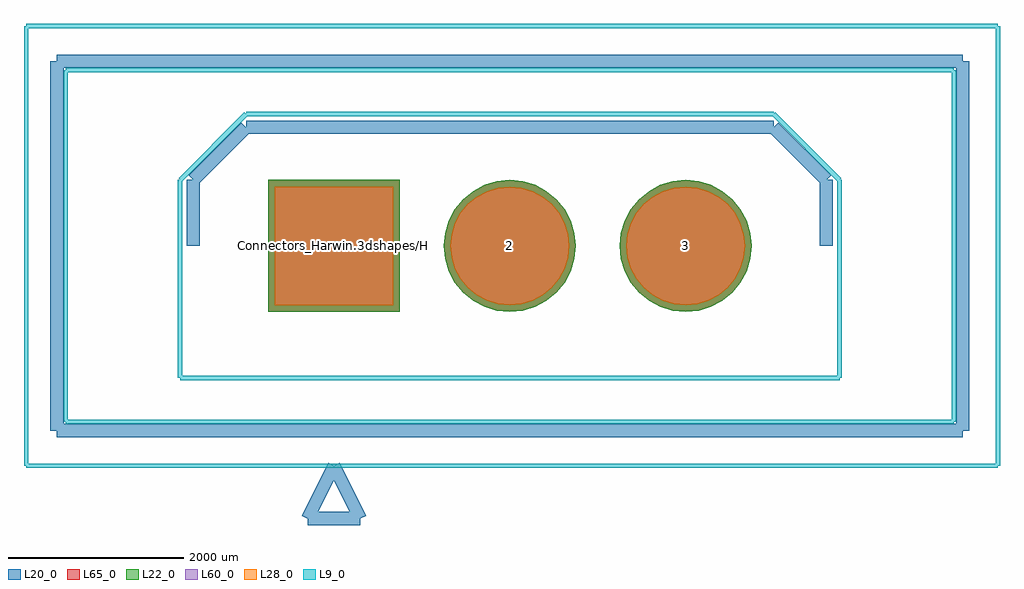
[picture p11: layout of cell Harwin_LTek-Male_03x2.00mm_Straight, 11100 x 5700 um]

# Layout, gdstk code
import gdstk
lib = gdstk.Library(unit=1e-6, precision=1e-09)
def R(c, l, rs):  # rectangles x0, y0, x1, y1
    for r in rs: c.add(gdstk.rectangle(r[:2], r[2:], *l))
def P(c, l, *ps):  # polygons
    for p in ps: c.add(gdstk.Polygon(p, *l))
L9_0 = (9, 0)
L20_0 = (20, 0)
L22_0 = (22, 0)
L28_0 = (28, 0)
L60_0 = (60, 0)
L65_0 = (65, 0)

harwin_ltek_male_03x2_00 = lib.new_cell('Harwin_LTek-Male_03x2.00mm_Straight')
R(harwin_ltek_male_03x2_00, L22_0, [(-750,-750,750,750)])
P(harwin_ltek_male_03x2_00, L22_0, [(4750,0),(4735.589,146.318),(4692.91,287.013),(4623.602,416.678),(4530.33,530.33),(4416.678,623.602),(4287.013,692.91),(4146.318,735.589),(4000,750),(3853.682,735.589),(3712.987,692.91),(3583.322,623.602),(3469.67,530.33),(3376.398,416.678),(3307.09,287.013),(3264.411,146.318),(3250,0),(3264.411,-146.318),(3307.09,-287.013),(3376.398,-416.678),(3469.67,-530.33),(3583.322,-623.602),(3712.987,-692.91),(3853.682,-735.589),(4000,-750),(4146.318,-735.589),(4287.013,-692.91),(4416.678,-623.602),(4530.33,-530.33),(4623.602,-416.678),(4692.91,-287.013),(4735.589,-146.318)],
  [(2750,0),(2735.589,146.318),(2692.91,287.013),(2623.602,416.678),(2530.33,530.33),(2416.678,623.602),(2287.013,692.91),(2146.318,735.589),(2000,750),(1853.682,735.589),(1712.987,692.91),(1583.322,623.602),(1469.67,530.33),(1376.398,416.678),(1307.09,287.013),(1264.411,146.318),(1250,0),(1264.411,-146.318),(1307.09,-287.013),(1376.398,-416.678),(1469.67,-530.33),(1583.322,-623.602),(1712.987,-692.91),(1853.682,-735.589),(2000,-750),(2146.318,-735.589),(2287.013,-692.91),(2416.678,-623.602),(2530.33,-530.33),(2623.602,-416.678),(2692.91,-287.013),(2735.589,-146.318)])
R(harwin_ltek_male_03x2_00, L28_0, [(-675,-675,675,675)])
P(harwin_ltek_male_03x2_00, L28_0, [(4675,0),(4662.03,131.686),(4623.619,258.311),(4561.242,375.01),(4477.297,477.297),(4375.01,561.242),(4258.311,623.619),(4131.686,662.03),(4000,675),(3868.314,662.03),(3741.689,623.619),(3624.99,561.242),(3522.703,477.297),(3438.758,375.01),(3376.381,258.311),(3337.97,131.686),(3325,0),(3337.97,-131.686),(3376.381,-258.311),(3438.758,-375.01),(3522.703,-477.297),(3624.99,-561.242),(3741.689,-623.619),(3868.314,-662.03),(4000,-675),(4131.686,-662.03),(4258.311,-623.619),(4375.01,-561.242),(4477.297,-477.297),(4561.242,-375.01),(4623.619,-258.311),(4662.03,-131.686)],
  [(2675,0),(2662.03,131.686),(2623.619,258.311),(2561.242,375.01),(2477.297,477.297),(2375.01,561.242),(2258.311,623.619),(2131.686,662.03),(2000,675),(1868.314,662.03),(1741.689,623.619),(1624.99,561.242),(1522.703,477.297),(1438.758,375.01),(1376.381,258.311),(1337.97,131.686),(1325,0),(1337.97,-131.686),(1376.381,-258.311),(1438.758,-375.01),(1522.703,-477.297),(1624.99,-561.242),(1741.689,-623.619),(1868.314,-662.03),(2000,-675),(2131.686,-662.03),(2258.311,-623.619),(2375.01,-561.242),(2477.297,-477.297),(2561.242,-375.01),(2623.619,-258.311),(2662.03,-131.686)])
R(harwin_ltek_male_03x2_00, L60_0, [(-675,-675,675,675)])
P(harwin_ltek_male_03x2_00, L60_0, [(4675,0),(4662.03,131.686),(4623.619,258.311),(4561.242,375.01),(4477.297,477.297),(4375.01,561.242),(4258.311,623.619),(4131.686,662.03),(4000,675),(3868.314,662.03),(3741.689,623.619),(3624.99,561.242),(3522.703,477.297),(3438.758,375.01),(3376.381,258.311),(3337.97,131.686),(3325,0),(3337.97,-131.686),(3376.381,-258.311),(3438.758,-375.01),(3522.703,-477.297),(3624.99,-561.242),(3741.689,-623.619),(3868.314,-662.03),(4000,-675),(4131.686,-662.03),(4258.311,-623.619),(4375.01,-561.242),(4477.297,-477.297),(4561.242,-375.01),(4623.619,-258.311),(4662.03,-131.686)],
  [(2675,0),(2662.03,131.686),(2623.619,258.311),(2561.242,375.01),(2477.297,477.297),(2375.01,561.242),(2258.311,623.619),(2131.686,662.03),(2000,675),(1868.314,662.03),(1741.689,623.619),(1624.99,561.242),(1522.703,477.297),(1438.758,375.01),(1376.381,258.311),(1337.97,131.686),(1325,0),(1337.97,-131.686),(1376.381,-258.311),(1438.758,-375.01),(1522.703,-477.297),(1624.99,-561.242),(1741.689,-623.619),(1868.314,-662.03),(2000,-675),(2131.686,-662.03),(2258.311,-623.619),(2375.01,-561.242),(2477.297,-477.297),(2561.242,-375.01),(2623.619,-258.311),(2662.03,-131.686)])
R(harwin_ltek_male_03x2_00, L65_0, [(-750,-750,750,750)])
P(harwin_ltek_male_03x2_00, L65_0, [(4750,0),(4735.589,146.318),(4692.91,287.013),(4623.602,416.678),(4530.33,530.33),(4416.678,623.602),(4287.013,692.91),(4146.318,735.589),(4000,750),(3853.682,735.589),(3712.987,692.91),(3583.322,623.602),(3469.67,530.33),(3376.398,416.678),(3307.09,287.013),(3264.411,146.318),(3250,0),(3264.411,-146.318),(3307.09,-287.013),(3376.398,-416.678),(3469.67,-530.33),(3583.322,-623.602),(3712.987,-692.91),(3853.682,-735.589),(4000,-750),(4146.318,-735.589),(4287.013,-692.91),(4416.678,-623.602),(4530.33,-530.33),(4623.602,-416.678),(4692.91,-287.013),(4735.589,-146.318)],
  [(2750,0),(2735.589,146.318),(2692.91,287.013),(2623.602,416.678),(2530.33,530.33),(2416.678,623.602),(2287.013,692.91),(2146.318,735.589),(2000,750),(1853.682,735.589),(1712.987,692.91),(1583.322,623.602),(1469.67,530.33),(1376.398,416.678),(1307.09,287.013),(1264.411,146.318),(1250,0),(1264.411,-146.318),(1307.09,-287.013),(1376.398,-416.678),(1469.67,-530.33),(1583.322,-623.602),(1712.987,-692.91),(1853.682,-735.589),(2000,-750),(2146.318,-735.589),(2287.013,-692.91),(2416.678,-623.602),(2530.33,-530.33),(2623.602,-416.678),(2692.91,-287.013),(2735.589,-146.318)])
harwin_ltek_male_03x2_00.add(gdstk.FlexPath([(300,-3100),(0,-2500)], 149.998, ends="flush", simple_path=True, layer=20, datatype=0))  # L20_0
harwin_ltek_male_03x2_00.add(gdstk.FlexPath([(-300,-3100),(300,-3100)], 149.998, ends="flush", simple_path=True, layer=20, datatype=0))  # L20_0
harwin_ltek_male_03x2_00.add(gdstk.FlexPath([(0,-2500),(-300,-3100)], 149.998, ends="flush", simple_path=True, layer=20, datatype=0))  # L20_0
harwin_ltek_male_03x2_00.add(gdstk.FlexPath([(5000,1350),(2000,1350)], 149.998, ends="flush", simple_path=True, layer=20, datatype=0))  # L20_0
harwin_ltek_male_03x2_00.add(gdstk.FlexPath([(5600,750),(5000,1350)], 149.998, ends="flush", simple_path=True, layer=20, datatype=0))  # L20_0
harwin_ltek_male_03x2_00.add(gdstk.FlexPath([(5600,0),(5600,750)], 149.998, ends="flush", simple_path=True, layer=20, datatype=0))  # L20_0
harwin_ltek_male_03x2_00.add(gdstk.FlexPath([(-1000,1350),(2000,1350)], 149.998, ends="flush", simple_path=True, layer=20, datatype=0))  # L20_0
harwin_ltek_male_03x2_00.add(gdstk.FlexPath([(-1600,750),(-1000,1350)], 149.998, ends="flush", simple_path=True, layer=20, datatype=0))  # L20_0
harwin_ltek_male_03x2_00.add(gdstk.FlexPath([(-1600,0),(-1600,750)], 149.998, ends="flush", simple_path=True, layer=20, datatype=0))  # L20_0
harwin_ltek_male_03x2_00.add(gdstk.FlexPath([(5750,-1500),(-1750,-1500)], 50, ends="flush", simple_path=True, layer=9, datatype=0))  # L9_0
harwin_ltek_male_03x2_00.add(gdstk.FlexPath([(5750,750),(5750,-1500)], 50, ends="flush", simple_path=True, layer=9, datatype=0))  # L9_0
harwin_ltek_male_03x2_00.add(gdstk.FlexPath([(5000,1500),(5750,750)], 50, ends="flush", simple_path=True, layer=9, datatype=0))  # L9_0
harwin_ltek_male_03x2_00.add(gdstk.FlexPath([(-1000,1500),(5000,1500)], 50, ends="flush", simple_path=True, layer=9, datatype=0))  # L9_0
harwin_ltek_male_03x2_00.add(gdstk.FlexPath([(-1750,750),(-1000,1500)], 50, ends="flush", simple_path=True, layer=9, datatype=0))  # L9_0
harwin_ltek_male_03x2_00.add(gdstk.FlexPath([(-1750,-1500),(-1750,750)], 50, ends="flush", simple_path=True, layer=9, datatype=0))  # L9_0
harwin_ltek_male_03x2_00.add(gdstk.FlexPath([(7050,2000),(-3050,2000)], 50, ends="flush", simple_path=True, layer=9, datatype=0))  # L9_0
harwin_ltek_male_03x2_00.add(gdstk.FlexPath([(7050,-2000),(7050,2000)], 50, ends="flush", simple_path=True, layer=9, datatype=0))  # L9_0
harwin_ltek_male_03x2_00.add(gdstk.FlexPath([(-3050,-2000),(7050,-2000)], 50, ends="flush", simple_path=True, layer=9, datatype=0))  # L9_0
harwin_ltek_male_03x2_00.add(gdstk.FlexPath([(-3050,2000),(-3050,-2000)], 50, ends="flush", simple_path=True, layer=9, datatype=0))  # L9_0
harwin_ltek_male_03x2_00.add(gdstk.FlexPath([(7550,2500),(-3500,2500)], 50, ends="flush", simple_path=True, layer=9, datatype=0))  # L9_0
harwin_ltek_male_03x2_00.add(gdstk.FlexPath([(7550,-2500),(7550,2500)], 50, ends="flush", simple_path=True, layer=9, datatype=0))  # L9_0
harwin_ltek_male_03x2_00.add(gdstk.FlexPath([(-3500,-2500),(7550,-2500)], 50, ends="flush", simple_path=True, layer=9, datatype=0))  # L9_0
harwin_ltek_male_03x2_00.add(gdstk.FlexPath([(-3500,2500),(-3500,-2500)], 50, ends="flush", simple_path=True, layer=9, datatype=0))  # L9_0
harwin_ltek_male_03x2_00.add(gdstk.FlexPath([(7150,2100),(-3150,2100)], 149.998, ends="flush", simple_path=True, layer=20, datatype=0))  # L20_0
harwin_ltek_male_03x2_00.add(gdstk.FlexPath([(7150,-2100),(7150,2100)], 149.998, ends="flush", simple_path=True, layer=20, datatype=0))  # L20_0
harwin_ltek_male_03x2_00.add(gdstk.FlexPath([(-3150,-2100),(7150,-2100)], 149.998, ends="flush", simple_path=True, layer=20, datatype=0))  # L20_0
harwin_ltek_male_03x2_00.add(gdstk.FlexPath([(-3150,2100),(-3150,-2100)], 149.998, ends="flush", simple_path=True, layer=20, datatype=0))  # L20_0
harwin_ltek_male_03x2_00.add(gdstk.Label('Connectors_Harwin.3dshapes/Harwin_LTek-Male_03x2.00mm_Straight.wrl', (0,0), layer=12, texttype=0))
harwin_ltek_male_03x2_00.add(gdstk.Label('3', (4000,0), layer=28, texttype=0))
harwin_ltek_male_03x2_00.add(gdstk.Label('2', (2000,0), layer=28, texttype=0))
harwin_ltek_male_03x2_00.add(gdstk.Label('1', (0,0), layer=28, texttype=0))
harwin_ltek_male_03x2_00.add(gdstk.Label('type', (2000,-4000), layer=9, texttype=0))
harwin_ltek_male_03x2_00.add(gdstk.Label('devicename', (2000,3500), layer=9, texttype=0))

lib.write_gds('Harwin_LTek-Male_03x2.00mm_Straight.gds')
